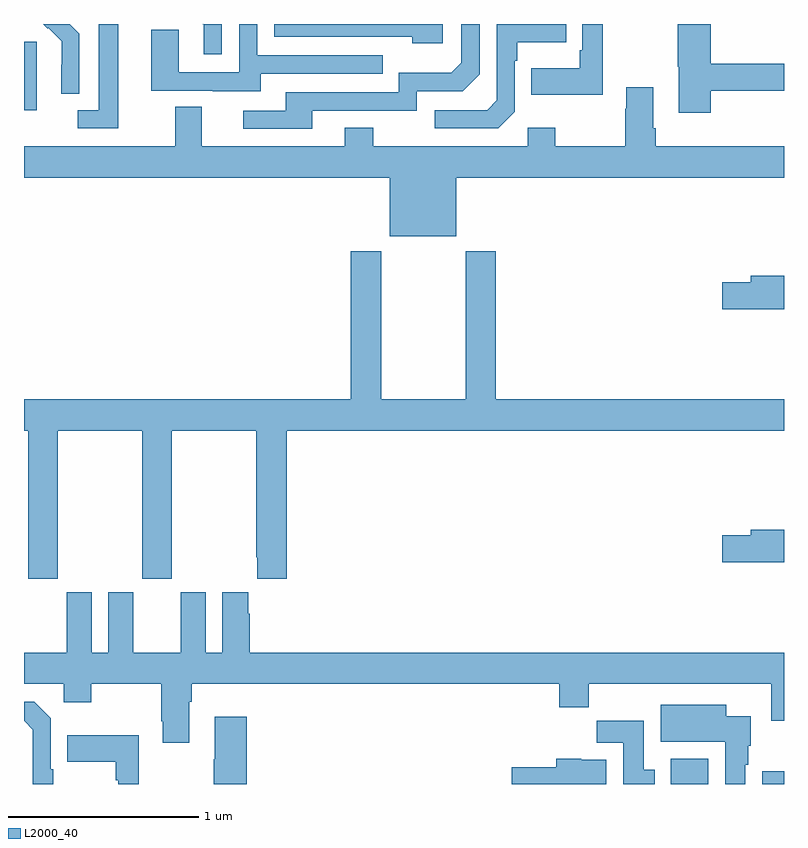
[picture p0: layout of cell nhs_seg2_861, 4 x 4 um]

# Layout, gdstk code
import gdstk
lib = gdstk.Library(unit=1e-6, precision=1e-09)
def R(c, l, rs):  # rectangles x0, y0, x1, y1
    for r in rs: c.add(gdstk.rectangle(r[:2], r[2:], *l))
def P(c, l, *ps):  # polygons
    for p in ps: c.add(gdstk.Polygon(p, *l))
L2000_40 = (2000, 40)

nhs_seg2_861 = lib.new_cell('nhs_seg2_861')
R(nhs_seg2_861, L2000_40, [(158.405,621.8,158.602,621.934), (158.885,621.8,159,621.868), (155,625.346,155.068,625.707)])
P(nhs_seg2_861, L2000_40, [(157.204,625.8),(156.318,625.8),(156.318,625.734),(157.043,625.734),(157.043,625.7),(157.204,625.7)],
  [(155.292,625.75),(155.242,625.8),(155.1,625.8),(155.124,625.776),(155.127,625.779),(155.198,625.709),(155.198,625.586),(155.196,625.586),(155.196,625.432),(155.292,625.432)],
  [(156.247,625.539),(156.887,625.539),(156.887,625.635),(156.228,625.635),(156.228,625.8),(156.132,625.8),(156.132,625.545),(155.814,625.545),(155.814,625.769),(155.669,625.769),(155.669,625.449),(155.993,625.449),(155.993,625.445),(156.247,625.445)],
  [(157.584,625.338),(157.584,625.607),(157.597,625.607),(157.597,625.703),(157.853,625.703),(157.853,625.8),(157.488,625.8),(157.488,625.398),(157.437,625.347),(157.161,625.347),(157.161,625.251),(157.497,625.251)],
  [(158.615,625.45),(159,625.45),(159,625.592),(158.615,625.592),(158.615,625.8),(158.44,625.8),(158.44,625.575),(158.447,625.575),(158.447,625.332),(158.615,625.332)],
  [(158.047,625.8),(157.938,625.8),(157.938,625.663),(157.926,625.663),(157.926,625.567),(157.669,625.567),(157.669,625.427),(158.047,625.427)],
  [(155.497,625.8),(155.393,625.8),(155.393,625.347),(155.283,625.347),(155.283,625.251),(155.497,625.251)],
  [(156.042,625.8),(155.942,625.8),(155.945,625.797),(155.945,625.641),(156.042,625.641)],
  [(156.517,625.344),(157.068,625.344),(157.068,625.446),(157.308,625.446),(157.398,625.536),(157.398,625.8),(157.302,625.8),(157.302,625.596),(157.249,625.543),(156.972,625.543),(156.972,625.44),(156.377,625.44),(156.377,625.344),(156.153,625.344),(156.153,625.248),(156.517,625.248)],
  [(157.276,624.992),(159,624.992),(159,625.156),(158.324,625.156),(158.324,625.252),(158.311,625.252),(158.311,625.468),(158.171,625.468),(158.171,625.355),(158.164,625.355),(158.164,625.156),(157.797,625.156),(157.797,625.255),(157.65,625.255),(157.65,625.156),(156.837,625.156),(156.837,625.255),(156.689,625.255),(156.689,625.156),(155.935,625.156),(155.935,625.364),(155.795,625.364),(155.795,625.156),(155,625.156),(155,624.992),(156.926,624.992),(156.926,624.683),(157.276,624.683)],
  [(155.178,623.66),(155.623,623.66),(155.623,622.881),(155.778,622.881),(155.778,623.66),(156.223,623.66),(156.223,622.993),(156.227,622.993),(156.227,622.881),(156.383,622.881),(156.383,623.66),(159,623.66),(159,623.824),(157.484,623.824),(157.484,624.604),(157.324,624.604),(157.324,623.824),(156.879,623.824),(156.879,624.604),(156.719,624.604),(156.719,623.824),(155,623.824),(155,623.66),(155.023,623.66),(155.023,622.881),(155.178,622.881)],
  [(159,624.476),(158.825,624.476),(158.825,624.44),(158.676,624.44),(158.676,624.298),(159,624.298)],
  [(159,623.138),(158.825,623.138),(158.825,623.108),(158.676,623.108),(158.676,622.966),(159,622.966)],
  [(155.869,622.232),(155.882,622.232),(155.882,622.328),(157.817,622.328),(157.817,622.204),(157.973,622.204),(157.973,622.328),(158.933,622.328),(158.933,622.134),(159,622.134),(159,622.492),(156.188,622.492),(156.188,622.697),(156.181,622.697),(156.181,622.81),(156.044,622.81),(156.044,622.492),(155.956,622.492),(155.956,622.81),(155.825,622.81),(155.825,622.492),(155.575,622.492),(155.575,622.81),(155.444,622.81),(155.444,622.492),(155.356,622.492),(155.356,622.81),(155.225,622.81),(155.225,622.492),(155,622.492),(155,622.328),(155.208,622.328),(155.208,622.229),(155.355,622.229),(155.355,622.328),(155.722,622.328),(155.722,622.129),(155.729,622.129),(155.729,622.017),(155.869,622.017)],
  [(155.155,621.877),(155.142,621.877),(155.142,622.146),(155.055,622.233),(155,622.233),(155,622.132),(155.046,622.086),(155.046,621.8),(155.155,621.8)],
  [(158.797,621.902),(158.812,621.902),(158.812,622.002),(158.824,622.002),(158.824,622.156),(158.695,622.156),(158.695,622.216),(158.351,622.216),(158.351,622.022),(158.69,622.022),(158.69,621.8),(158.797,621.8)],
  [(156.173,622.153),(156.005,622.153),(156.005,621.929),(155.998,621.929),(155.998,621.8),(156.173,621.8)],
  [(158.32,621.876),(158.263,621.876),(158.263,622.134),(158.014,622.134),(158.014,622.016),(158.153,622.016),(158.153,621.8),(158.32,621.8)],
  [(155.605,622.057),(155.227,622.057),(155.227,621.917),(155.484,621.917),(155.484,621.821),(155.496,621.821),(155.496,621.8),(155.605,621.8)],
  [(158.065,621.928),(157.932,621.928),(157.932,621.934),(157.802,621.934),(157.802,621.888),(157.566,621.888),(157.566,621.8),(158.065,621.8)])

lib.write_gds('nhs_seg2_861.gds')
